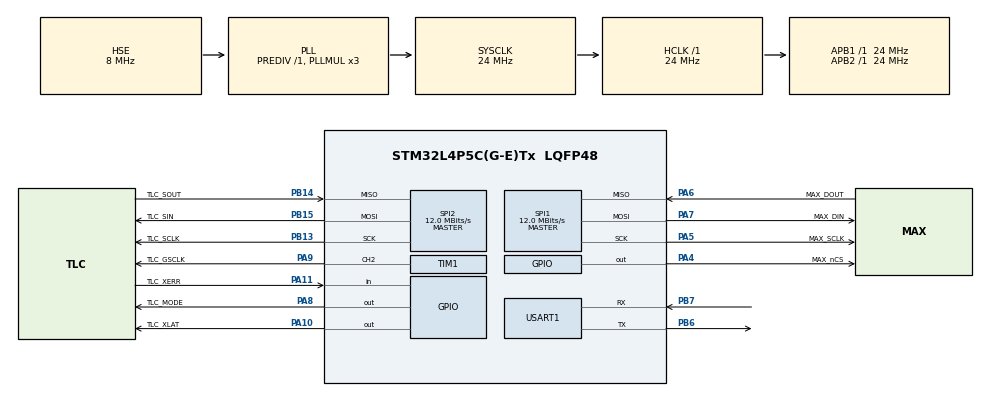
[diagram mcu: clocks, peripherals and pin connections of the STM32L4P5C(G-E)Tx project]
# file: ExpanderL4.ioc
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Mcu.Family=STM32L4
Dma.SPI2_TX.2.PeriphInc=DMA_PINC_DISABLE
Dma.SPI2_TX.2.MemInc=DMA_MINC_ENABLE
Dma.SPI1_TX.1.Priority=DMA_PRIORITY_LOW
Dma.SPI1_TX.1.RequestNumber=1
PA6.Mode=Full_Duplex_Master
SPI2.VirtualNSS=VM_NSSHARD
Dma.SPI1_TX.1.EventEnable=DISABLE
Dma.SPI2_TX.2.SyncEnable=DISABLE
Dma.SPI1_TX.1.SyncRequestNumber=1
NVIC.DMA1_Channel5_IRQn=true\:0\:0\:false\:false\:true\:true\:true
SPI1.VirtualType=VM_MASTER
SPI2.VirtualType=VM_MASTER
PH0-OSC_IN\ (PH0).Signal=RCC_OSC_IN
PB14.GPIO_Label=TLC_SOUT
Dma.SPI1_TX.1.PeriphInc=DMA_PINC_DISABLE
Dma.SPI1_TX.1.SignalID=NONE
PA6.GPIO_Label=MAX_DOUT
PB13.GPIO_Label=TLC_SCLK
PB13.Signal=SPI2_SCK
PB15.Signal=SPI2_MOSI
RCC.SYSCLKSource=RCC_SYSCLKSOURCE_PLLCLK
ProjectManager.StackSize=0x400
RCC.PLLSource=RCC_PLLSOURCE_HSE
Dma.SPI1_RX.0.SyncRequestNumber=1
NVIC.DMA1_Channel3_IRQn=true\:0\:0\:false\:false\:true\:true\:true
PA14\ (JTCK/SWCLK).Signal=SYS_JTCK-SWCLK
TIM1.Channel-Output\ Compare2\ CH2=TIM_CHANNEL_2
Dma.SPI1_RX.0.Direction=DMA_PERIPH_TO_MEMORY
Dma.SPI2_TX.2.SyncSignalID=NONE
SPI1.Direction=SPI_DIRECTION_2LINES
RCC.HCLKFreq_Value=24000000
RCC.APB2TimFreq_Value=24000000
PB6.Signal=USART1_TX
Dma.SPI2_TX.2.PeriphDataAlignment=DMA_PDATAALIGN_BYTE
PB6.Mode=Multiprocessor_communication
SPI1.CalculateBaudRate=12.0 MBits/s
Dma.SPI1_TX.1.SyncSignalID=NONE
Dma.SPI2_TX.2.Instance=DMA1_Channel5
RCC.AHBFreq_Value=24000000
SPI2.BaudRatePrescaler=SPI_BAUDRATEPRESCALER_2
Dma.SPI1_TX.1.PeriphDataAlignment=DMA_PDATAALIGN_BYTE
PH1-OSC_OUT\ (PH1).Mode=HSE-External-Oscillator
RCC.HSE_VALUE=8000000
RCC.PLLMUL=RCC_PLL_MUL3
Dma.SPI1_RX.0.RequestNumber=1
PB12.GPIO_Label=TLC_BLANK
Dma.SPI1_RX.0.PeriphInc=DMA_PINC_DISABLE
Dma.SPI1_RX.0.SyncEnable=DISABLE
PA13\ (JTMS/SWDIO).GPIO_Label=SWDIO
Dma.SPI2_TX.2.EventEnable=DISABLE
Dma.SPI1_TX.1.Mode=DMA_NORMAL
PB14.Mode=Full_Duplex_Master
PA10.GPIO_Label=TLC_XLAT
SPI2.CalculateBaudRate=12.0 MBits/s
PB7.Signal=USART1_RX
PA8.Signal=GPIO_Output
PA14\ (JTCK/SWCLK).Mode=Serial_Wire
NVIC.SPI2_IRQn=true\:0\:0\:false\:false\:true\:true\:true
Dma.SPI1_RX.0.Polarity=HAL_DMAMUX_REQ_GEN_RISING
Dma.SPI2_TX.2.MemDataAlignment=DMA_MDATAALIGN_BYTE
VP_TIM1_VS_ClockSourceINT.Mode=Internal
Dma.SPI2_TX.2.SignalID=NONE
Mcu.Package=LQFP48
PA6.Signal=SPI1_MISO
SPI2.Mode=SPI_MODE_MASTER
Dma.SPI2_TX.2.Priority=DMA_PRIORITY_LOW
Dma.SPI2_TX.2.Mode=DMA_NORMAL
PA10.Signal=GPIO_Output
PA14\ (JTCK/SWCLK).GPIO_Label=SWCLK
RCC.PLLSourceVirtualString=RCC_PLLSOURCE_HSE
Dma.Request2=SPI2_TX
Dma.Request1=SPI1_TX
RCC.APB1TimFreq_Value=24000000
SPI2.Direction=SPI_DIRECTION_2LINES
PB13.Mode=Full_Duplex_Master
Dma.SPI1_TX.1.SyncPolarity=HAL_DMAMUX_SYNC_NO_EVENT
NVIC.USART1_IRQn=true\:0\:0\:false\:false\:true\:true\:true
Dma.Request0=SPI1_RX
SPI1.BaudRatePrescaler=SPI_BAUDRATEPRESCALER_2
PA4.GPIO_Label=MAX_nCS
PH0-OSC_IN\ (PH0).Mode=HSE-External-Oscillator
Dma.SPI1_TX.1.Instance=DMA1_Channel3
RCC.HSI48_VALUE=48000000
Dma.SPI2_TX.2.RequestNumber=1
PA5.Mode=Full_Duplex_Master
Dma.SPI2_TX.2.SyncPolarity=HAL_DMAMUX_SYNC_NO_EVENT
RCC.MSI_VALUE=4000000
RCC.PLLSourceVirtual=RCC_PLLSOURCE_HSE
Dma.SPI1_TX.1.MemInc=DMA_MINC_ENABLE
Dma.SPI1_TX.1.SyncEnable=DISABLE
PA7.Mode=Full_Duplex_Master
PA13\ (JTMS/SWDIO).Mode=Serial_Wire
PA9.GPIO_Label=TLC_GSCLK
TIM1.OCMode_2=TIM_OCMODE_TOGGLE
PA11.GPIO_Label=TLC_XERR
Dma.SPI1_RX.0.Mode=DMA_NORMAL
Dma.SPI1_TX.1.Direction=DMA_MEMORY_TO_PERIPH
PH1-OSC_OUT\ (PH1).Signal=RCC_OSC_OUT
Dma.SPI1_TX.1.MemDataAlignment=DMA_MDATAALIGN_BYTE
PA8.GPIO_Label=TLC_MODE
NVIC.DMA1_Channel2_IRQn=true\:0\:0\:false\:false\:true\:true\:true
ProjectManager.TargetToolchain=EWARM V8.32
Dma.SPI2_TX.2.Direction=DMA_MEMORY_TO_PERIPH
PA9.Signal=S_TIM1_CH2
Dma.SPI1_RX.0.EventEnable=DISABLE
RCC.LSE_VALUE=32768
PB14.Signal=SPI2_MISO
PA5.Signal=SPI1_SCK
Dma.SPI2_TX.2.SyncRequestNumber=1
board=custom
RCC.VCOOutputFreq_Value=32000000
PB15.Mode=Full_Duplex_Master
RCC.APB2Freq_Value=24000000
PB15.GPIO_Label=TLC_SIN
SH.S_TIM1_CH2.0=TIM1_CH2,Output Compare2 CH2
SPI1.Mode=SPI_MODE_MASTER
Dma.SPI1_RX.0.Instance=DMA1_Channel2
Dma.SPI1_RX.0.PeriphDataAlignment=DMA_PDATAALIGN_BYTE
Dma.SPI1_RX.0.SyncSignalID=NONE
Dma.SPI1_RX.0.MemDataAlignment=DMA_MDATAALIGN_BYTE
Mcu.Name=STM32L4P5C(G-E)Tx
USART1.VirtualMode-Multiprocessor_communication=VM_ASYNC
Dma.SPI1_RX.0.MemInc=DMA_MINC_ENABLE
PA4.Signal=GPIO_Output
RCC.SYSCLKFreq_VALUE=24000000
Dma.SPI1_RX.0.SignalID=NONE
Dma.SPI1_TX.1.Polarity=HAL_DMAMUX_REQ_GEN_RISING
TIM1.Pulse-Output\ Compare2\ CH2=32765
PA7.GPIO_Label=MAX_DIN
Dma.SPI2_TX.2.Polarity=HAL_DMAMUX_REQ_GEN_RISING
PA5.GPIO_Label=MAX_SCLK
USART1.VirtualMode=VM_ASYNC
PB7.Mode=Multiprocessor_communication
PA11.Signal=GPIO_Input
ProjectManager.HeapSize=0x200
Dma.SPI1_RX.0.Priority=DMA_PRIORITY_LOW
RCC.HSI_VALUE=16000000
Dma.SPI1_RX.0.SyncPolarity=HAL_DMAMUX_SYNC_NO_EVENT
NVIC.PriorityGroup=NVIC_PRIORITYGROUP_4
PA9.GPIO_Speed=GPIO_SPEED_FREQ_HIGH
RCC.APB1Freq_Value=24000000
PB12.Signal=SPI2_NSS
PA13\ (JTMS/SWDIO).Signal=SYS_JTMS-SWDIO
PA7.Signal=SPI1_MOSI

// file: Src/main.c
/**
  ******************************************************************************
  * File Name          : main.c
  * Description        : Main program body
  ******************************************************************************
  *
  * COPYRIGHT(c) 2020 STMicroelectronics
  *
  * Redistribution and use in source and binary forms, with or without modification,
  * are permitted provided that the following conditions are met:
  *   1. Redistributions of source code must retain the above copyright notice,
  *      this list of conditions and the following disclaimer.
  *   2. Redistributions in binary form must reproduce the above copyright notice,
  *      this list of conditions and the following disclaimer in the documentation
  *      and/or other materials provided with the distribution.
  *   3. Neither the name of STMicroelectronics nor the names of its contributors
  *      may be used to endorse or promote products derived from this software
  *      without specific prior written permission.
  *
  * THIS SOFTWARE IS PROVIDED BY THE COPYRIGHT HOLDERS AND CONTRIBUTORS "AS IS"
  * AND ANY EXPRESS OR IMPLIED WARRANTIES, INCLUDING, BUT NOT LIMITED TO, THE
  * IMPLIED WARRANTIES OF MERCHANTABILITY AND FITNESS FOR A PARTICULAR PURPOSE ARE
  * DISCLAIMED. IN NO EVENT SHALL THE COPYRIGHT HOLDER OR CONTRIBUTORS BE LIABLE
  * FOR ANY DIRECT, INDIRECT, INCIDENTAL, SPECIAL, EXEMPLARY, OR CONSEQUENTIAL
  * DAMAGES (INCLUDING, BUT NOT LIMITED TO, PROCUREMENT OF SUBSTITUTE GOODS OR
  * SERVICES; LOSS OF USE, DATA, OR PROFITS; OR BUSINESS INTERRUPTION) HOWEVER
  * CAUSED AND ON ANY THEORY OF LIABILITY, WHETHER IN CONTRACT, STRICT LIABILITY,
  * OR TORT (INCLUDING NEGLIGENCE OR OTHERWISE) ARISING IN ANY WAY OUT OF THE USE
  * OF THIS SOFTWARE, EVEN IF ADVISED OF THE POSSIBILITY OF SUCH DAMAGE.
  *
  ******************************************************************************
  */
#include "stm32f1xx_hal.h"

/* USER CODE BEGIN Includes */
#include "HAL_MAX11300.h"
#include "HAL_TLC5946.h"
/* USER CODE END Includes */

SPI_HandleTypeDef hspi1;
SPI_HandleTypeDef hspi2;
DMA_HandleTypeDef hdma_spi1_rx;
DMA_HandleTypeDef hdma_spi1_tx;
DMA_HandleTypeDef hdma_spi2_tx;

TIM_HandleTypeDef htim1;

UART_HandleTypeDef huart1;

/* USER CODE BEGIN PV */
/* Private variables ---------------------------------------------------------*/

/* USER CODE END PV */

void SystemClock_Config(void);
void Error_Handler(void);
static void MX_GPIO_Init(void);
static void MX_DMA_Init(void);
static void MX_SPI1_Init(void);
static void MX_SPI2_Init(void);
static void MX_TIM1_Init(void);
static void MX_USART1_UART_Init(void);

void HAL_TIM_MspPostInit(TIM_HandleTypeDef *htim);

/* USER CODE BEGIN PFP */
/* Private function prototypes -----------------------------------------------*/
void setup(void);
void run(void);

/* USER CODE END PFP */

int main(void)
{

  /* MCU Configuration----------------------------------------------------------*/

  /* Reset of all peripherals, Initializes the Flash interface and the Systick. */
  HAL_Init();

  /* Configure the system clock */
  SystemClock_Config();

  /* Initialize all configured peripherals */
  MX_GPIO_Init();
  MX_DMA_Init();
  MX_SPI1_Init();
  MX_SPI2_Init();
  MX_TIM1_Init();
  MX_USART1_UART_Init();

  /* USER CODE BEGIN 2 */

  MAX11300_init(&hspi1);
  TLC5946_init(&hspi2);
  setup();

  /* USER CODE END 2 */

  /* Infinite loop */
  while (1)
  {

  /* USER CODE BEGIN 3 */
   run();

  }
  /* USER CODE END 3 */

}

/** System Clock Configuration
*/
void SystemClock_Config(void)
{

  RCC_OscInitTypeDef RCC_OscInitStruct;
  RCC_ClkInitTypeDef RCC_ClkInitStruct;

  RCC_OscInitStruct.OscillatorType = RCC_OSCILLATORTYPE_HSE;
  RCC_OscInitStruct.HSEState = RCC_HSE_ON;
  RCC_OscInitStruct.HSEPredivValue = RCC_HSE_PREDIV_DIV1;
  RCC_OscInitStruct.PLL.PLLState = RCC_PLL_ON;
  RCC_OscInitStruct.PLL.PLLSource = RCC_PLLSOURCE_HSE;
  RCC_OscInitStruct.PLL.PLLMUL = RCC_PLL_MUL3;
  if (HAL_RCC_OscConfig(&RCC_OscInitStruct) != HAL_OK)
  {
    Error_Handler();
  }

  RCC_ClkInitStruct.ClockType = RCC_CLOCKTYPE_HCLK|RCC_CLOCKTYPE_SYSCLK
                              |RCC_CLOCKTYPE_PCLK1|RCC_CLOCKTYPE_PCLK2;
  RCC_ClkInitStruct.SYSCLKSource = RCC_SYSCLKSOURCE_PLLCLK;
  RCC_ClkInitStruct.AHBCLKDivider = RCC_SYSCLK_DIV1;
  RCC_ClkInitStruct.APB1CLKDivider = RCC_HCLK_DIV1;
  RCC_ClkInitStruct.APB2CLKDivider = RCC_HCLK_DIV1;
  if (HAL_RCC_ClockConfig(&RCC_ClkInitStruct, FLASH_LATENCY_0) != HAL_OK)
  {
    Error_Handler();
  }

  HAL_SYSTICK_Config(HAL_RCC_GetHCLKFreq()/1000);

  HAL_SYSTICK_CLKSourceConfig(SYSTICK_CLKSOURCE_HCLK);

  /* SysTick_IRQn interrupt configuration */
  HAL_NVIC_SetPriority(SysTick_IRQn, 0, 0);
}

/* SPI1 init function */
static void MX_SPI1_Init(void)
{

  hspi1.Instance = SPI1;
  hspi1.Init.Mode = SPI_MODE_MASTER;
  hspi1.Init.Direction = SPI_DIRECTION_2LINES;
  hspi1.Init.DataSize = SPI_DATASIZE_8BIT;
  hspi1.Init.CLKPolarity = SPI_POLARITY_LOW;
  hspi1.Init.CLKPhase = SPI_PHASE_1EDGE;
  hspi1.Init.NSS = SPI_NSS_SOFT;
  hspi1.Init.BaudRatePrescaler = SPI_BAUDRATEPRESCALER_2;
  hspi1.Init.FirstBit = SPI_FIRSTBIT_MSB;
  hspi1.Init.TIMode = SPI_TIMODE_DISABLE;
  hspi1.Init.CRCCalculation = SPI_CRCCALCULATION_DISABLE;
  hspi1.Init.CRCPolynomial = 10;
  if (HAL_SPI_Init(&hspi1) != HAL_OK)
  {
    Error_Handler();
  }

}

/* SPI2 init function */
static void MX_SPI2_Init(void)
{

  hspi2.Instance = SPI2;
  hspi2.Init.Mode = SPI_MODE_MASTER;
  hspi2.Init.Direction = SPI_DIRECTION_2LINES;
  hspi2.Init.DataSize = SPI_DATASIZE_8BIT;
  hspi2.Init.CLKPolarity = SPI_POLARITY_LOW;
  hspi2.Init.CLKPhase = SPI_PHASE_1EDGE;
  hspi2.Init.NSS = SPI_NSS_HARD_OUTPUT;
  hspi2.Init.BaudRatePrescaler = SPI_BAUDRATEPRESCALER_2;
  hspi2.Init.FirstBit = SPI_FIRSTBIT_MSB;
  hspi2.Init.TIMode = SPI_TIMODE_DISABLE;
  hspi2.Init.CRCCalculation = SPI_CRCCALCULATION_DISABLE;
  hspi2.Init.CRCPolynomial = 10;
  if (HAL_SPI_Init(&hspi2) != HAL_OK)
  {
    Error_Handler();
  }

}

/* TIM1 init function */
static void MX_TIM1_Init(void)
{

  TIM_ClockConfigTypeDef sClockSourceConfig;
  TIM_MasterConfigTypeDef sMasterConfig;
  TIM_OC_InitTypeDef sConfigOC;
  TIM_BreakDeadTimeConfigTypeDef sBreakDeadTimeConfig;

  htim1.Instance = TIM1;
  htim1.Init.Prescaler = 0;
  htim1.Init.CounterMode = TIM_COUNTERMODE_UP;
  htim1.Init.Period = 2;
  htim1.Init.ClockDivision = TIM_CLOCKDIVISION_DIV1;
  htim1.Init.RepetitionCounter = 0;
  if (HAL_TIM_Base_Init(&htim1) != HAL_OK)
  {
    Error_Handler();
  }

  sClockSourceConfig.ClockSource = TIM_CLOCKSOURCE_INTERNAL;
  if (HAL_TIM_ConfigClockSource(&htim1, &sClockSourceConfig) != HAL_OK)
  {
    Error_Handler();
  }

  if (HAL_TIM_OC_Init(&htim1) != HAL_OK)
  {
    Error_Handler();
  }

  sMasterConfig.MasterOutputTrigger = TIM_TRGO_RESET;
  sMasterConfig.MasterSlaveMode = TIM_MASTERSLAVEMODE_DISABLE;
  if (HAL_TIMEx_MasterConfigSynchronization(&htim1, &sMasterConfig) != HAL_OK)
  {
    Error_Handler();
  }

  sConfigOC.OCMode = TIM_OCMODE_TOGGLE;
  sConfigOC.Pulse = 32765;
  sConfigOC.OCPolarity = TIM_OCPOLARITY_HIGH;
  sConfigOC.OCNPolarity = TIM_OCNPOLARITY_HIGH;
  sConfigOC.OCFastMode = TIM_OCFAST_DISABLE;
  sConfigOC.OCIdleState = TIM_OCIDLESTATE_RESET;
  sConfigOC.OCNIdleState = TIM_OCNIDLESTATE_RESET;
  if (HAL_TIM_OC_ConfigChannel(&htim1, &sConfigOC, TIM_CHANNEL_2) != HAL_OK)
  {
    Error_Handler();
  }

  sBreakDeadTimeConfig.OffStateRunMode = TIM_OSSR_DISABLE;
  sBreakDeadTimeConfig.OffStateIDLEMode = TIM_OSSI_DISABLE;
  sBreakDeadTimeConfig.LockLevel = TIM_LOCKLEVEL_OFF;
  sBreakDeadTimeConfig.DeadTime = 0;
  sBreakDeadTimeConfig.BreakState = TIM_BREAK_DISABLE;
  sBreakDeadTimeConfig.BreakPolarity = TIM_BREAKPOLARITY_HIGH;
  sBreakDeadTimeConfig.AutomaticOutput = TIM_AUTOMATICOUTPUT_DISABLE;
  if (HAL_TIMEx_ConfigBreakDeadTime(&htim1, &sBreakDeadTimeConfig) != HAL_OK)
  {
    Error_Handler();
  }

  HAL_TIM_MspPostInit(&htim1);

}

/* USART1 init function */
static void MX_USART1_UART_Init(void)
{

  huart1.Instance = USART1;
  huart1.Init.BaudRate = 115200;
  huart1.Init.WordLength = UART_WORDLENGTH_8B;
  huart1.Init.StopBits = UART_STOPBITS_1;
  huart1.Init.Parity = UART_PARITY_NONE;
  huart1.Init.Mode = UART_MODE_TX_RX;
  huart1.Init.HwFlowCtl = UART_HWCONTROL_NONE;
  huart1.Init.OverSampling = UART_OVERSAMPLING_16;
  if (HAL_MultiProcessor_Init(&huart1, 0, UART_WAKEUPMETHOD_IDLELINE) != HAL_OK)
  {
    Error_Handler();
  }

}

static void MX_DMA_Init(void)
{
  /* DMA controller clock enable */
  __HAL_RCC_DMA1_CLK_ENABLE();

  /* DMA interrupt init */
  /* DMA1_Channel2_IRQn interrupt configuration */
  HAL_NVIC_SetPriority(DMA1_Channel2_IRQn, 0, 0);
  HAL_NVIC_EnableIRQ(DMA1_Channel2_IRQn);
  /* DMA1_Channel3_IRQn interrupt configuration */
  HAL_NVIC_SetPriority(DMA1_Channel3_IRQn, 0, 0);
  HAL_NVIC_EnableIRQ(DMA1_Channel3_IRQn);
  /* DMA1_Channel5_IRQn interrupt configuration */
  HAL_NVIC_SetPriority(DMA1_Channel5_IRQn, 0, 0);
  HAL_NVIC_EnableIRQ(DMA1_Channel5_IRQn);

}

/** Configure pins as
        * Analog
        * Input
        * Output
        * EVENT_OUT
        * EXTI
        * Free pins are configured automatically as Analog (this feature is enabled through
        * the Code Generation settings)
*/
static void MX_GPIO_Init(void)
{

  GPIO_InitTypeDef GPIO_InitStruct;

  /* GPIO Ports Clock Enable */
  __HAL_RCC_GPIOC_CLK_ENABLE();
  __HAL_RCC_GPIOD_CLK_ENABLE();
  __HAL_RCC_GPIOA_CLK_ENABLE();
  __HAL_RCC_GPIOB_CLK_ENABLE();

  /*Configure GPIO pin Output Level */
  HAL_GPIO_WritePin(GPIOA, MAX_nCS_Pin|TLC_MODE_Pin|TLC_XLAT_Pin, GPIO_PIN_RESET);

  /*Configure GPIO pins : PC13 PC14 PC15 */
  GPIO_InitStruct.Pin = GPIO_PIN_13|GPIO_PIN_14|GPIO_PIN_15;
  GPIO_InitStruct.Mode = GPIO_MODE_ANALOG;
  HAL_GPIO_Init(GPIOC, &GPIO_InitStruct);

  /*Configure GPIO pins : PA0 PA1 PA2 PA3
                           PA12 PA15 */
  GPIO_InitStruct.Pin = GPIO_PIN_0|GPIO_PIN_1|GPIO_PIN_2|GPIO_PIN_3
                          |GPIO_PIN_12|GPIO_PIN_15;
  GPIO_InitStruct.Mode = GPIO_MODE_ANALOG;
  HAL_GPIO_Init(GPIOA, &GPIO_InitStruct);

  /*Configure GPIO pins : MAX_nCS_Pin TLC_MODE_Pin TLC_XLAT_Pin */
  GPIO_InitStruct.Pin = MAX_nCS_Pin|TLC_MODE_Pin|TLC_XLAT_Pin;
  GPIO_InitStruct.Mode = GPIO_MODE_OUTPUT_PP;
  GPIO_InitStruct.Speed = GPIO_SPEED_FREQ_LOW;
  HAL_GPIO_Init(GPIOA, &GPIO_InitStruct);

  /*Configure GPIO pins : PB0 PB1 PB2 PB10
                           PB11 PB3 PB4 PB5
                           PB8 PB9 */
  GPIO_InitStruct.Pin = GPIO_PIN_0|GPIO_PIN_1|GPIO_PIN_2|GPIO_PIN_10
                          |GPIO_PIN_11|GPIO_PIN_3|GPIO_PIN_4|GPIO_PIN_5
                          |GPIO_PIN_8|GPIO_PIN_9;
  GPIO_InitStruct.Mode = GPIO_MODE_ANALOG;
  HAL_GPIO_Init(GPIOB, &GPIO_InitStruct);

  /*Configure GPIO pin : TLC_XERR_Pin */
  GPIO_InitStruct.Pin = TLC_XERR_Pin;
  GPIO_InitStruct.Mode = GPIO_MODE_INPUT;
  GPIO_InitStruct.Pull = GPIO_NOPULL;
  HAL_GPIO_Init(TLC_XERR_GPIO_Port, &GPIO_InitStruct);

}

/* USER CODE BEGIN 4 */

void HAL_SPI_TxCpltCallback(SPI_HandleTypeDef *hspi)
{
  if(hspi == &hspi2){TLC5946_TxINTCallback();}
	if(hspi == &hspi1){MAX11300_TxINTCallback();}
}

void HAL_SPI_RxCpltCallback(SPI_HandleTypeDef *hspi)
{
  if(hspi == &hspi2){}
	if(hspi == &hspi1){MAX11300_RxINTCallback();}
}

void HAL_SPI_TxRxCpltCallback(SPI_HandleTypeDef *hspi){
  if(hspi == &hspi2){TLC5946_TxINTCallback();}
  if(hspi == &hspi1){MAX11300_TxRxINTCallback();}
}

/* USER CODE END 4 */

void Error_Handler(void)
{
  while(1)
  {
  }
}

/************************ (C) COPYRIGHT STMicroelectronics *****END OF FILE****/
